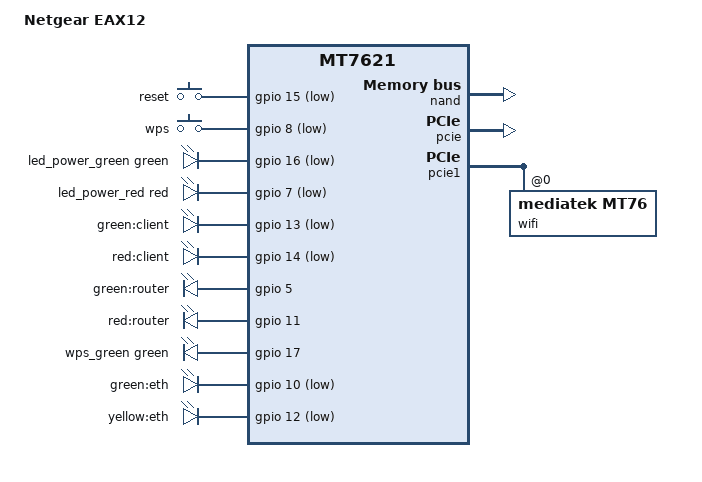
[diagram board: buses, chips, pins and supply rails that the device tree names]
// SPDX-License-Identifier: GPL-2.0-or-later OR MIT

#include "mt7621.dtsi"

#include <dt-bindings/gpio/gpio.h>
#include <dt-bindings/input/input.h>
#include <dt-bindings/leds/common.h>

/ {
	compatible = "netgear,eax12", "mediatek,mt7621-soc";
	model = "Netgear EAX12";

	aliases {
		led-boot = &led_power_green;
		led-failsafe = &led_power_red;
		led-running = &led_power_green;
		led-upgrade = &led_power_red;
	};

	chosen {
		bootargs = "console=ttyS0,115200";
	};

	keys {
		compatible = "gpio-keys";

		reset {
			label = "reset";
			gpios = <&gpio 15 GPIO_ACTIVE_LOW>;
			linux,code = <KEY_RESTART>;
		};

		wps {
			label = "wps";
			gpios = <&gpio 8 GPIO_ACTIVE_LOW>;
			linux,code = <KEY_WPS_BUTTON>;
		};
	};

	leds {
		compatible = "gpio-leds";

		led_power_green: power_green {
			function = LED_FUNCTION_POWER;
			color = <LED_COLOR_ID_GREEN>;
			gpios = <&gpio 16 GPIO_ACTIVE_LOW>;
		};

		led_power_red: power_red {
			function = LED_FUNCTION_POWER;
			color = <LED_COLOR_ID_RED>;
			gpios = <&gpio 7 GPIO_ACTIVE_LOW>;
		};

		client_green {
			label = "green:client";
			gpios = <&gpio 13 GPIO_ACTIVE_LOW>;
		};

		client_red {
			label = "red:client";
			gpios = <&gpio 14 GPIO_ACTIVE_LOW>;
		};

		router_green {
			label = "green:router";
			gpios = <&gpio 5 GPIO_ACTIVE_HIGH>;
		};

		router_red {
			label = "red:router";
			gpios = <&gpio 11 GPIO_ACTIVE_HIGH>;
		};

		wps_green {
			function = LED_FUNCTION_WPS;
			color = <LED_COLOR_ID_GREEN>;
			gpios = <&gpio 17 GPIO_ACTIVE_HIGH>;
		};

		eth_green {
			label = "green:eth";
			gpios = <&gpio 10 GPIO_ACTIVE_LOW>;
		};

		eth_yellow {
			label = "yellow:eth";
			gpios = <&gpio 12 GPIO_ACTIVE_LOW>;
		};
	};
};

&nand {
	status = "okay";

	partitions {
		compatible = "fixed-partitions";
		#address-cells = <1>;
		#size-cells = <1>;

		partition@0 {
			label = "Bootloader";
			reg = <0x0 0x80000>;
			read-only;
		};

		partition@80000 {
			label = "Config";
			reg = <0x80000 0x80000>;
			read-only;
		};

		partition@100000 {
			label = "Factory";
			reg = <0x100000 0x80000>;
			read-only;

			nvmem-layout {
				compatible = "fixed-layout";
				#address-cells = <1>;
				#size-cells = <1>;

				eeprom_factory_0: eeprom@0 {
					reg = <0x0 0xe00>;
				};

				precal_factory_e10: precal@e10 {
					reg = <0xe10 0x19c10>;
				};
			};
		};

		partition@180000 {
			label = "firmware";
			reg = <0x180000 0x3800000>;

			compatible = "fixed-partitions";
			#address-cells = <1>;
			#size-cells = <1>;

			partition@0 {
				label = "kernel";
				reg = <0x0 0x400000>;
			};

			partition@400000 {
				label = "ubi";
				reg = <0x400000 0x3400000>;
			};
		};

		partition@2780000 {
			label = "firmware_backup";
			reg = <0x3980000 0x3800000>;
			read-only;
		};

		partition@4d80000 {
			label = "CFG";
			reg = <0x7180000 0x200000>;
			read-only;
		};

		partition@5580000 {
			label = "RAE";
			reg = <0x7380000 0x600000>;
			read-only;
		};

		partition@5980000 {
			label = "POT";
			reg = <0x7980000 0x020000>;
			read-only;
		};

		partition@6780000 {
			label = "LOG";
			reg = <0x79A0000 0x40000>;
			read-only;
		};
	};
};

&pcie {
	status = "okay";
};

&pcie1 {
	wifi@0,0 {
		compatible = "mediatek,mt76";
		reg = <0x0000 0 0 0 0>;
		nvmem-cells = <&eeprom_factory_0>, <&precal_factory_e10>;
		nvmem-cell-names = "eeprom", "precal";
	};
};

&switch0 {
	ports {
		port@0 {
			status = "okay";
			label = "lan";
		};
	};
};

&xhci {
	status = "disabled";
};
